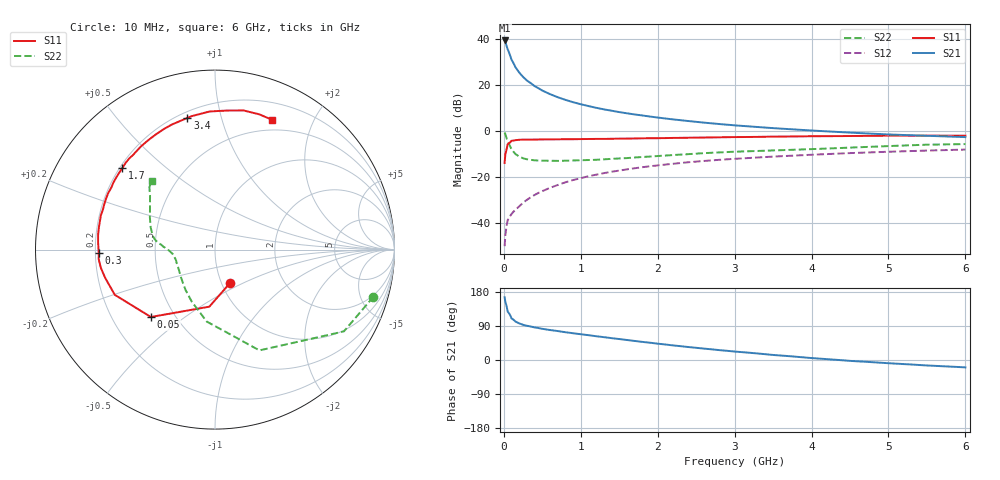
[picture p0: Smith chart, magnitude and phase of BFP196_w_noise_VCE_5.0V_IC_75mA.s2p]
! (c) 2017  Infineon Technologies AG, Munich
! Infineon Technologies  Discrete & RF Semiconductors
! BFP196
! VCE =  5.0 V,  IC =  75 mA
! Common Emitter S-Parameters:  Jan 2017
# GHz  S  MA  R  50
!  f  S11  S21  S12  S22
! GHz  MAG  ANG  MAG  ANG  MAG  ANG  MAG  ANG
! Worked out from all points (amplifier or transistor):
!   77 points, 10 MHz to 6 GHz, reference 50 ohm
!   highest |S21| = 39.2 dB at 10 MHz (marker M1)
!   |S21| within 3 dB of that: start of sweep to 41.61 MHz
!   unconditionally stable (mu >= 1): 455.4 MHz to 2.429 GHz
!   at 130 MHz: K = 0.71, MSG = 31.9 dB, |S12| = -34.8 dB
!   at 2.2 GHz: K = 1.01, MAG = 9.0 dB, |S12| = -14.2 dB
!   at 6 GHz: K = 0.95, MSG = 2.7 dB, |S12| = -8.0 dB
!   lowest NFmin = 1.73 dB at 450 MHz
!   S11 on the Smith chart (normalised r, x): 10 MHz: 1.10, -0.42; 50 MHz: 0.37, -0.38; 300 MHz: 0.21, -0.01; 1.7 GHz: 0.21, +0.36; 3.4 GHz: 0.23, +0.79; 6 GHz: 0.38, +1.47
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0.01  0.2034 -65.4  91.31 165.6  0.0032 82.2  0.921 -16.6
0.02  0.3196 -95.7  84.97 153.0  0.0056 76.1  0.8505 -32.4
0.05  0.5183 -133.6  58.72 127.5  0.0117 56.3  0.6136 -66.2
0.1  0.6126 -155.7  34.95 109.6  0.0159 58.3  0.4037 -96.5
0.15  0.6324 -165.8  24.19 101.6  0.0197 58.4  0.3179 -114.0
0.2  0.6442 -171.0  18.41 96.6  0.0233 62.7  0.2785 -126.0
0.25  0.6502 -175.3  14.81 92.9  0.0279 64.8  0.2565 -134.4
0.3  0.6479 -178.2  12.38 90.3  0.0323 67.0  0.2438 -141.3
0.4  0.652 177.0  9.371 85.9  0.0412 68.8  0.2313 -150.1
0.5  0.6562 173.1  7.507 82.3  0.0498 69.5  0.2271 -156.2
0.6  0.6585 169.5  6.285 79.1  0.0587 69.2  0.2264 -161.0
0.7  0.66 166.5  5.389 76.4  0.0676 68.7  0.2252 -164.5
0.8  0.6638 163.4  4.725 73.3  0.0773 68.6  0.2269 -167.0
1.1  0.6705 154.7  3.463 65.5  0.1048 65.7  0.2349 -172.9
1.4  0.678 146.6  2.747 57.7  0.131 61.7  0.2488 -177.1
1.7  0.6877 138.6  2.282 50.3  0.1559 57.8  0.2662 179.8
2.1  0.7018 128.3  1.865 40.9  0.1873 51.9  0.2939 175.9
3.1  0.7392 107.2  1.288 20.7  0.2549 38.0  0.3601 166.1
3.4  0.7497 101.8  1.185 15.3  0.2726 34.3  0.374 162.2
4.1  0.7707 90.7  1.002 3.7  0.3106 25.6  0.4104 152.1
5.1  0.7908 77.1  0.83 -9.6  0.3591 13.9  0.4776 139.4
6  0.7902 66.1  0.737 -19.5  0.3959 3.8  0.5201 132.8
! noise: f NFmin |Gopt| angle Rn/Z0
0.45  1.73  0.48  -171  0.06
0.9  1.89  0.51  -158  0.09
1.9  2.72  0.7  -130  0.38
2.4  3.12  0.7  -117  0.83
